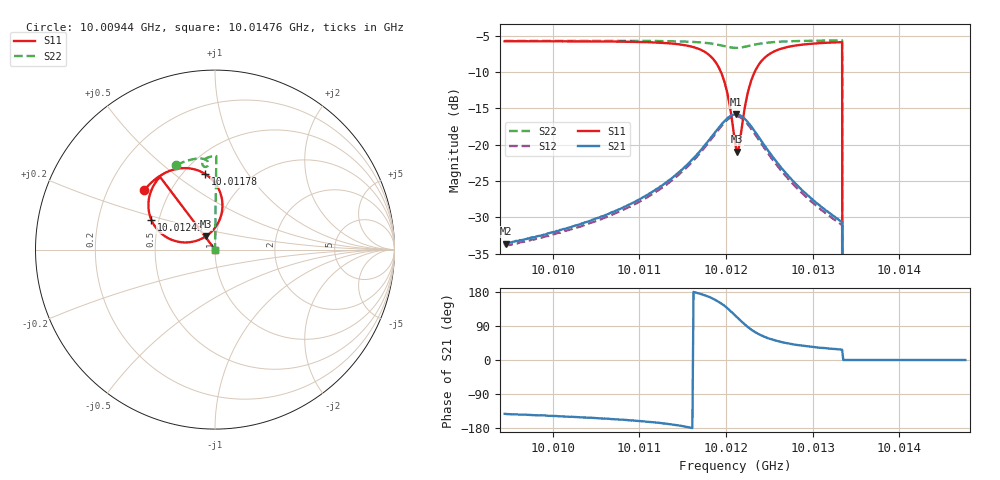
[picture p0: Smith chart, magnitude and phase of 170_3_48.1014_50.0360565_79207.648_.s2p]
#  HZ  S  RI  R  50.00
! Rohde & Schwarz Vector Network Analyzer
! Rohde-Schwarz,ZNB20-2Port,1311601062101988,3.16
! Created: UTC 12/23/2023, 3:51:40 AM
! freq[Hz]  re:S11  im:S11  re:S21  im:S21  re:S12  im:S12  re:S22  im:S22
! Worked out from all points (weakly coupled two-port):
!   401 points, 10.00944 GHz to 10.01476 GHz, reference 50 ohm
!   highest |S21| = -15.83 dB at 10.01212 GHz (marker M1); lowest = -33.6 dB at 10.00946 GHz (marker M2)
!   lowest |S11| = -20.9 dB at 10.01213 GHz (marker M3), VSWR 1.20, Z = 44.8 + j6.78 ohm
!   |S11| at or under -10 dB: 10.01194 GHz to 10.01233 GHz (389.2 kHz wide, 0.00389 % of centre); 10.01334 GHz to end of sweep
!   |S22| runs from - to -5.7 dB; largest |S21 - S12| = 0.008
!   S11 on the Smith chart (normalised r, x): 10.00944 GHz: 0.36, +0.32; 10.01178 GHz: 0.64, +0.65; 10.01243 GHz: 0.45, +0.18; 10.01476 GHz: 1.00, +0.00
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1.0009444e10  -0.3939 0.3314  -0.0165 -0.0128  -0.0153 -0.013  -0.2149 0.471
1.0009457e10  -0.3933 0.332  -0.0165 -0.0128  -0.0154 -0.013  -0.2141 0.4714
1.0010334e10  -0.3388 0.387  -0.0252 -0.0137  -0.0235 -0.0143  -0.1597 0.4934
1.0011225e10  -0.2382 0.4436  -0.0491 -0.0123  -0.0467 -0.0146  -0.0973 0.5075
1.0011783e10  -0.0531 0.4201  -0.1019 0.0208  -0.0997 0.015  -0.0475 0.4979
1.001189e10  0.0065 0.3612  -0.115 0.0496  -0.1144 0.042  -0.0389 0.4879
1.0011969e10  0.0387 0.2809  -0.1172 0.082  -0.1178 0.0748  -0.0367 0.4768
1.0012036e10  0.0343 0.1916  -0.1048 0.1148  -0.107 0.1077  -0.0404 0.467
1.0012102e10  -0.0161 0.1028  -0.0758 0.1426  -0.0795 0.1359  -0.0493 0.4612
1.0012115e10  -0.0321 0.088  -0.0683 0.1466  -0.0725 0.1398  -0.0515 0.4606
1.0012129e10  -0.0491 0.075  -0.0605 0.1495  -0.0648 0.143  -0.0537 0.4606
1.0012155e10  -0.0868 0.0549  -0.045 0.1531  -0.0489 0.1471  -0.0582 0.4613
1.0012222e10  -0.185 0.0407  -0.00639 0.149  -0.0107 0.1437  -0.067 0.4678
1.0012275e10  -0.2523 0.0594  0.0177 0.1359  0.0122 0.1314  -0.0703 0.4752
1.0012341e10  -0.3116 0.1014  0.0362 0.1152  0.031 0.1117  -0.0702 0.485
1.0012434e10  -0.3547 0.1658  0.0472 0.0886  0.042 0.0864  -0.0651 0.4958
1.0012674e10  -0.3681 0.2834  0.0457 0.0467  0.0414 0.0464  -0.0448 0.5111
1.0012993e10  -0.3396 0.3607  0.0347 0.0242  0.0319 0.0243  -0.0184 0.5187
1.0013312e10  -0.3086 0.4023  0.0265 0.0139  0.0246 0.0147  0.00572 0.5212
1.0013378e10  0 0  0 0  0 0  0 0
1.0013883e10  0 0  0 0  0 0  0 0
1.001476e10  0 0  0 0  0 0  0 0
